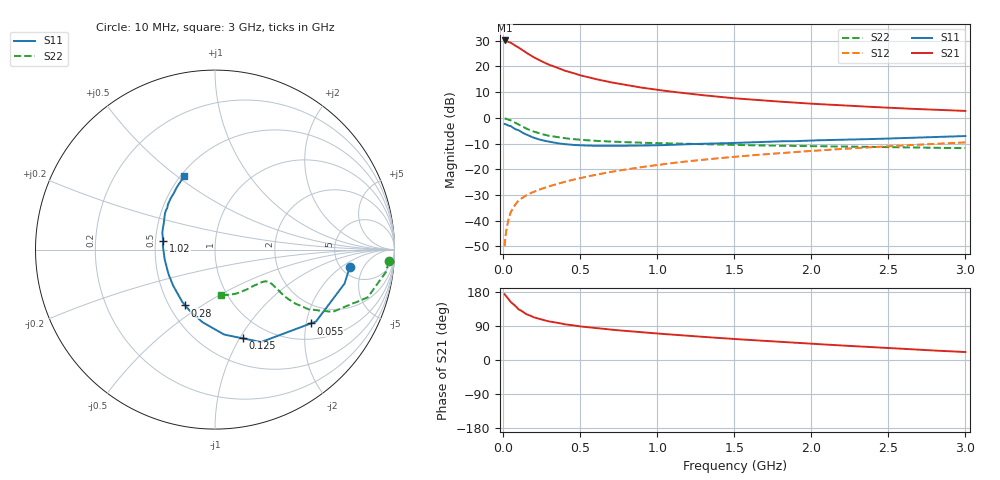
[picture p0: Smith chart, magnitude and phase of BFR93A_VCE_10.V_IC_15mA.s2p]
! Infineon Technologies  Discrete & RF Semiconductors
! BFR93A
! VCE =  10. V,  IC =  15 mA
! Common Emitter S-Parameters:  Nov 2015
# GHz  S  MA  R  50
!  f  S11  S21  S12  S22
! GHz  MAG  ANG  MAG  ANG  MAG  ANG  MAG  ANG
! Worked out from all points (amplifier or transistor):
!   180 points, 10 MHz to 3 GHz, reference 50 ohm
!   highest |S21| = 30.1 dB at 10 MHz (marker M1)
!   |S21| within 3 dB of that: start of sweep to 106.8 MHz
!   unconditionally stable (mu >= 1): 521.8 MHz to 2.648 GHz
!   at 160 MHz: K = 0.58, MSG = 27.4 dB, |S12| = -29.8 dB
!   at 1.22 GHz: K = 1.08, MAG = 11.3 dB, |S12| = -16.8 dB
!   at 3 GHz: K = 0.97, MSG = 6.1 dB, |S12| = -9.6 dB
!   S11 on the Smith chart (normalised r, x): 10 MHz: 5.97, -2.73; 55 MHz: 1.41, -2.12; 125 MHz: 0.76, -1.03; 280 MHz: 0.60, -0.43; 1.02 GHz: 0.55, +0.06; 3 GHz: 0.52, +0.53
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0.01  0.7576 -7.4  31.91 173.6  0.0032 85.4  0.9711 -3.9
0.02  0.7461 -14.7  31.39 168.2  0.0062 81.7  0.9594 -7.6
0.05  0.691 -35.4  28.87 152.9  0.0147 74.2  0.8909 -17.4
0.055  0.6732 -37.7  28.2 151.4  0.0157 72.7  0.8748 -18.3
0.1  0.5757 -63.5  23.31 133.9  0.0246 64.3  0.7416 -27.9
0.125  0.5176 -72.7  20.75 128.2  0.0279 62.5  0.6802 -30.0
0.15  0.4759 -83.9  18.45 121.1  0.0312 61.0  0.6199 -32.5
0.2  0.4104 -99.8  15.01 112.6  0.0367 60.6  0.5395 -33.9
0.24  0.3758 -109.7  13.02 107.7  0.0407 60.6  0.4954 -34.0
0.28  0.3526 -118.1  11.44 103.6  0.0447 61.4  0.462 -33.7
0.3  0.3436 -122.1  10.72 101.6  0.0467 61.8  0.447 -33.4
0.4  0.3077 -139.3  8.263 94.3  0.0569 63.8  0.4001 -32.1
0.52  0.2908 -154.0  6.511 87.9  0.0694 65.2  0.3708 -31.2
0.6  0.2861 -162.3  5.671 84.3  0.0779 65.7  0.3568 -30.9
0.7  0.2855 -169.5  4.899 80.1  0.0888 66.1  0.345 -31.2
0.84  0.2875 -179.4  4.134 75.3  0.1038 66.2  0.3326 -32.1
1.02  0.2937 170.6  3.438 69.3  0.1233 65.5  0.3212 -34.0
1.3  0.3132 158.4  2.748 60.9  0.1533 63.9  0.3066 -38.4
1.52  0.3264 150.4  2.374 54.9  0.1768 62.3  0.2963 -42.4
2.02  0.3642 135.8  1.868 42.5  0.2292 58.0  0.2811 -53.6
2.52  0.3976 123.8  1.561 31.2  0.2821 53.1  0.2697 -66.6
3  0.4425 112.9  1.362 21.0  0.3327 48.0  0.2575 -82.4
